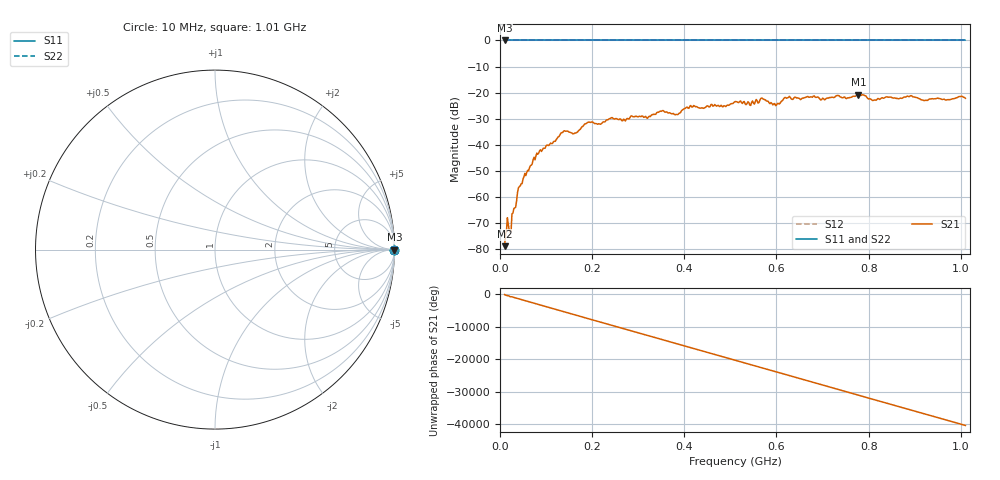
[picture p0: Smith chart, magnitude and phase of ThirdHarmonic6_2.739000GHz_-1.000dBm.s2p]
! 8/17/2025 6:47:11 AM
! C:\ANRITSUVNA\TEMP\TEMP.S2P
! CHANNEL.1
! TR.MEASUREMENT
! RAW.DATA
! RF.CORRECTION.OFF
! AVERAGING.OFF
! IF.BANDWIDTH: 5KHZ
! SWEEPTYPE:  FREQ.SWEEP(Linear)
! Reference Plane Port Info
! PORT:  PORT1  PORT2
! DISTANCE:  0  m  0  m
! TIME:  0  s  0  s
! PHASE.OFFSET:  0  deg.  0  deg.
! LOSS:  0  dB  0  dB
! REF.LOSS:  0  dB  0  dB
! REF.FREQ:  0  Hz  0  Hz
! Power Info
! POWER:  -20  dBm  -20  dBm
! EFF.POWER:  -20  dBm  -20  dBm
! SOURCE.ATTEN:  0  dB  0  dB
! TEST.ATTEN:  0  dB  0  dB
# GHZ S RI R 50.0
! FREQ.GHZ  S11RE  S11IM  S21RE  S21IM  S12RE  S12IM  S22RE  S22IM
!; PortSelection: Port_12
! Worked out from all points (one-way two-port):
!   501 points, 10 MHz to 1.01 GHz, reference 50 ohm
!   highest |S21| = -20.71 dB at 778 MHz (marker M1); lowest = -78.8 dB at 10 MHz (marker M2)
!   lowest |S11| = 0.0 dB at 10 MHz (marker M3)
!   |S11| at or under -10 dB: nowhere
!   |S22| runs from 0.0 to 0.0 dB; largest |S21 - S12| = 1.1
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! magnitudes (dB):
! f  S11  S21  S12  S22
! 10 MHz  0.0  -78.8  0.0  0.0
! 16 MHz  0.0  -67.9  0.0  0.0
! 24 MHz  0.0  -73.3  0.0  0.0
! 42 MHz  0.0  -56.0  0.0  0.0
! 76 MHz  0.0  -45.7  0.0  0.0
! 136 MHz  0.0  -35.2  0.0  0.0
! 162 MHz  0.0  -35.4  0.0  0.0
! 178 MHz  0.0  -33.0  0.0  0.0
! 194 MHz  0.0  -31.3  0.0  0.0
! 322 MHz  0.0  -29.3  0.0  0.0
! 344 MHz  0.0  -27.5  0.0  0.0
! 382 MHz  0.0  -28.3  0.0  0.0
! 416 MHz  0.0  -25.5  0.0  0.0
! 510 MHz  0.0  -23.4  0.0  0.0
! 570 MHz  0.0  -22.3  0.0  0.0
! 596 MHz  0.0  -24.2  0.0  0.0
! 624 MHz  0.0  -22.0  0.0  0.0
! 678 MHz  0.0  -21.7  0.0  0.0
! 778 MHz  0.0  -20.7  0.0  0.0
! 812 MHz  0.0  -22.8  0.0  0.0
! 844 MHz  0.0  -21.7  0.0  0.0
! 1.01 GHz  0.0  -22.1  0.0  0.0
